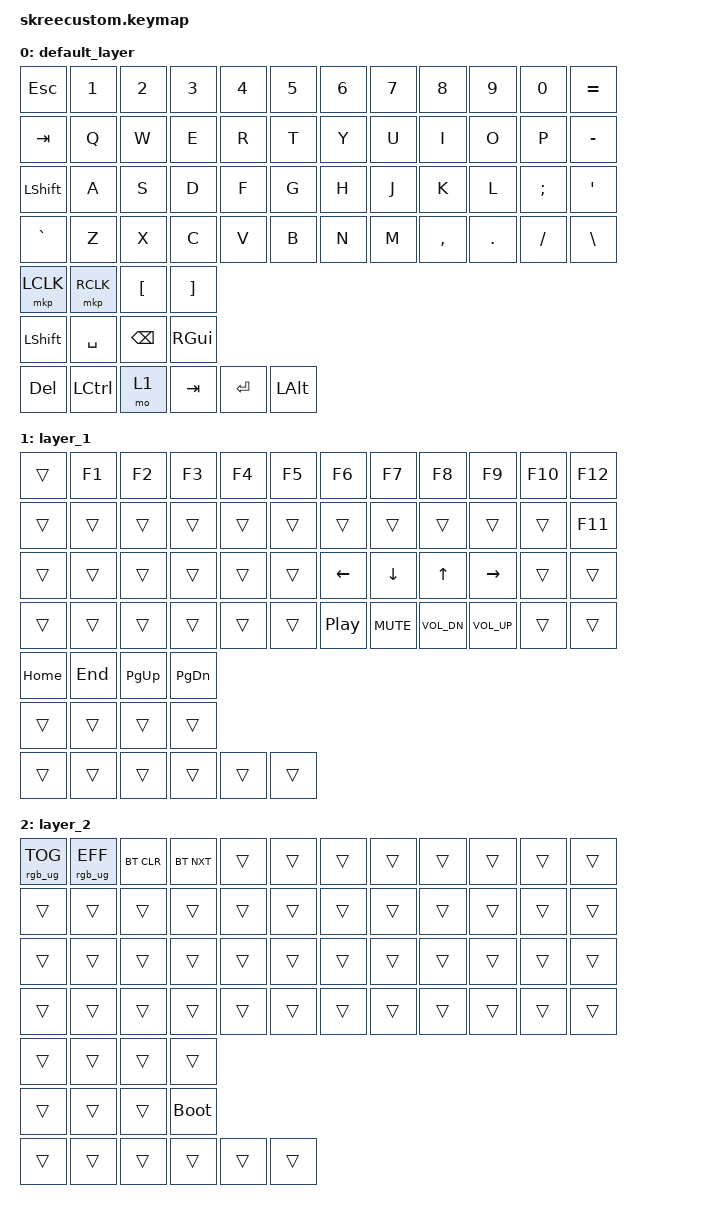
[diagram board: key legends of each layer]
/*
 * Copyright (c) 2020 The ZMK Contributors
 *
 * SPDX-License-Identifier: MIT
 */

#include <behaviors.dtsi>
#include <dt-bindings/zmk/bt.h>
#include <dt-bindings/zmk/keys.h>
#include <dt-bindings/zmk/pointing.h>
#include <dt-bindings/zmk/rgb.h>

/ {
    keymap {
        compatible = "zmk,keymap";

        default_layer {
            bindings = <
    &kp ESC             &kp N1              &kp N2              &kp N3              &kp N4              &kp N5                &kp N6              &kp N7              &kp N8              &kp N9              &kp N0              &kp EQUAL
    &kp TAB             &kp Q               &kp W               &kp E               &kp R               &kp T                 &kp Y               &kp U               &kp I               &kp O               &kp P               &kp MINUS
    &kp LSHFT           &kp A               &kp S               &kp D               &kp F               &kp G                 &kp H               &kp J               &kp K               &kp L               &kp SEMI            &kp SQT
    &kp GRAVE           &kp Z               &kp X               &kp C               &kp V               &kp B                 &kp N               &kp M               &kp COMMA           &kp DOT             &kp FSLH            &kp BSLH
    &mkp LCLK  &mkp RCLK  &kp LBKT  &kp RBKT
    &kp LSHFT  &kp SPACE  &kp BSPC  &kp RGUI
    &kp DEL  &kp LCTRL  &mo 1  &kp TAB  &kp RET  &kp LALT
            >;
        };

        layer_1 {
            bindings = <
    &trans              &kp F1              &kp F2              &kp F3              &kp F4              &kp F5                &kp F6              &kp F7              &kp F8              &kp F9              &kp F10             &kp F12
    &trans              &trans              &trans              &trans              &trans              &trans                &trans              &trans              &trans              &trans              &trans              &kp F11
    &trans              &trans              &trans              &trans              &trans              &trans                &kp LEFT            &kp DOWN            &kp UP              &kp RIGHT           &trans              &trans
    &trans              &trans              &trans              &trans              &trans              &trans                &kp C_PLAY_PAUSE    &kp C_MUTE          &kp C_VOL_DN        &kp C_VOL_UP        &trans              &trans
    &kp HOME  &kp END  &kp PG_UP  &kp PG_DN
    &trans  &trans  &trans  &trans
    &trans  &trans  &trans  &trans  &trans  &trans
            >;
        };

        layer_2 {
            bindings = <
    &rgb_ug RGB_TOG     &rgb_ug RGB_EFF     &bt BT_CLR          &bt BT_NXT          &trans              &trans                &trans              &trans              &trans              &trans              &trans              &trans
    &trans              &trans              &trans              &trans              &trans              &trans                &trans              &trans              &trans              &trans              &trans              &trans
    &trans              &trans              &trans              &trans              &trans              &trans                &trans              &trans              &trans              &trans              &trans              &trans
    &trans              &trans              &trans              &trans              &trans              &trans                &trans              &trans              &trans              &trans              &trans              &trans
    &trans  &trans  &trans  &trans
    &trans  &trans  &trans  &bootloader
    &trans  &trans  &trans  &trans  &trans  &trans
            >;
        };
    };

    combos {
        compatible = "zmk,combos";

        combo_middle_click {
            timeout-ms = <50>;
            layers = <0>;
            key-positions = <48 49>;
            bindings = <&mkp MCLK>;
        };
    };
};
